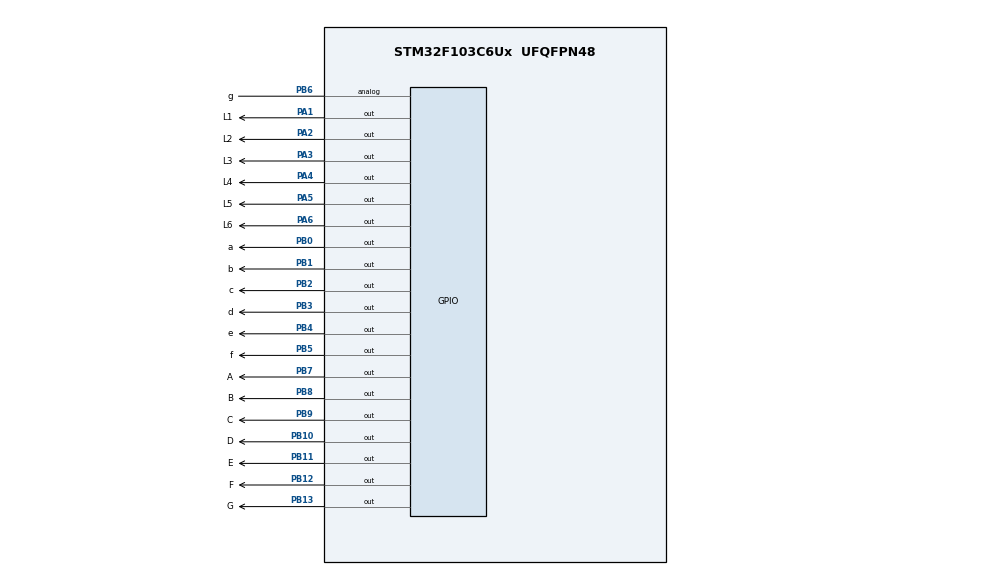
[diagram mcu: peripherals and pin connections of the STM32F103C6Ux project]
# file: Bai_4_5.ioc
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Mcu.Family=STM32F1
Mcu.Name=STM32F103C6Ux
Mcu.Package=UFQFPN48
NVIC.PriorityGroup=NVIC_PRIORITYGROUP_4
PA1.GPIO_Label=L1
PA1.Signal=GPIO_Output
PA2.GPIO_Label=L2
PA2.Signal=GPIO_Output
PA3.GPIO_Label=L3
PA3.Signal=GPIO_Output
PA4.GPIO_Label=L4
PA4.Signal=GPIO_Output
PA5.GPIO_Label=L5
PA5.Signal=GPIO_Output
PA6.GPIO_Label=L6
PA6.Signal=GPIO_Output
PB0.GPIO_Label=a
PB0.Signal=GPIO_Output
PB1.GPIO_Label=b
PB1.Signal=GPIO_Output
PB10.GPIO_Label=D
PB10.Signal=GPIO_Output
PB11.GPIO_Label=E
PB11.Signal=GPIO_Output
PB12.GPIO_Label=F
PB12.Signal=GPIO_Output
PB13.GPIO_Label=G
PB13.Signal=GPIO_Output
PB2.GPIO_Label=c
PB2.Signal=GPIO_Output
PB3.GPIO_Label=d
PB3.Signal=GPIO_Output
PB4.GPIO_Label=e
PB4.Signal=GPIO_Output
PB5.GPIO_Label=f
PB5.Signal=GPIO_Output
PB6.GPIO_Label=g
PB6.Signal=GPIO_Analog
PB7.GPIO_Label=A
PB7.Signal=GPIO_Output
PB8.GPIO_Label=B
PB8.Signal=GPIO_Output
PB9.GPIO_Label=C
PB9.Signal=GPIO_Output
ProjectManager.HeapSize=0x200
ProjectManager.StackSize=0x400
ProjectManager.TargetToolchain=STM32CubeIDE
RCC.APB1Freq_Value=8000000
RCC.APB2Freq_Value=8000000
VP_SYS_VS_ND.Mode=No_Debug
board=custom

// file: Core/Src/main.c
#include "main.h"

/* Timing constants (seconds) */
#define NS_RED_TIME  9  /* NS red counts from 8 to 0 */
#define EW_GREEN_TIME 5 /* EW green counts from 5 to 0 */
#define EW_YELLOW_TIME 3 /* EW yellow counts from 2 to 0 */

void SystemClock_Config(void);
static void MX_GPIO_Init(void);

/* Helper prototypes */
void display7SEG_NS(int num);
void display7SEG_EW(int num);
void clear7SEG_NS(void);
void clear7SEG_EW(void);
void setLED(GPIO_TypeDef* port, uint16_t pin, uint8_t on);
void setNS(uint8_t g, uint8_t y, uint8_t r);
void setEW(uint8_t g, uint8_t y, uint8_t r);

int main(void)
{
  HAL_Init();
  SystemClock_Config();
  MX_GPIO_Init();

  /* Init: turn off traffic LEDs and clear both 7-seg */
  setNS(0,0,0);
  setEW(0,0,0);
  clear7SEG_NS();
  clear7SEG_EW();

  /* Main loop: two-phase traffic controller */
  while (1)
  {
    /* Phase A: North-South RED, East-West GREEN then YELLOW */
    setNS(0,0,1);   /* NS red on */
    setEW(1,0,0);   /* EW green on */
    for (int s = 0; s < EW_GREEN_TIME; s++) {
      display7SEG_NS(NS_RED_TIME - s - 1); /* NS red counts 8->4 */
      display7SEG_EW(EW_GREEN_TIME - s - 1); /* EW green counts 5->1 */
      HAL_Delay(1000);
    }
    setEW(0,1,0);   /* EW yellow on */
    for (int s = 0; s < EW_YELLOW_TIME + 1; s++) {
      display7SEG_NS(NS_RED_TIME - EW_GREEN_TIME - s - 1); /* NS red counts 3->0 */
      display7SEG_EW(EW_YELLOW_TIME - s); /* EW yellow counts 2->0 */
      HAL_Delay(1000);
    }

    /* Phase B: East-West RED, North-South GREEN then YELLOW */
    setNS(1,0,0);   /* NS green on */
    setEW(0,0,1);   /* EW red on */
    for (int s = 0; s < EW_GREEN_TIME; s++) {
      display7SEG_EW(NS_RED_TIME - s - 1); /* EW red counts 8->4 */
      display7SEG_NS(EW_GREEN_TIME - s - 1); /* NS green counts 5->1 */
      HAL_Delay(1000);
    }
    setNS(0,1,0);   /* NS yellow on */
    for (int s = 0; s < EW_YELLOW_TIME + 1; s++) {
      display7SEG_EW(NS_RED_TIME - EW_GREEN_TIME - s - 1); /* EW red counts 3->0 */
      display7SEG_NS(EW_YELLOW_TIME - s); /* NS yellow counts 2->0 */
      HAL_Delay(1000);
    }
  }
}

/* System Clock Configuration (standard HSI) */
void SystemClock_Config(void)
{
  RCC_OscInitTypeDef RCC_OscInitStruct = {0};
  RCC_ClkInitTypeDef RCC_ClkInitStruct = {0};

  RCC_OscInitStruct.OscillatorType = RCC_OSCILLATORTYPE_HSI;
  RCC_OscInitStruct.HSIState       = RCC_HSI_ON;
  RCC_OscInitStruct.HSICalibrationValue = RCC_HSICALIBRATION_DEFAULT;
  RCC_OscInitStruct.PLL.PLLState   = RCC_PLL_NONE;
  if (HAL_RCC_OscConfig(&RCC_OscInitStruct) != HAL_OK)
  {
    Error_Handler();
  }
  RCC_ClkInitStruct.ClockType      = RCC_CLOCKTYPE_HCLK|RCC_CLOCKTYPE_SYSCLK
                                   |RCC_CLOCKTYPE_PCLK1|RCC_CLOCKTYPE_PCLK2;
  RCC_ClkInitStruct.SYSCLKSource   = RCC_SYSCLKSOURCE_HSI;
  RCC_ClkInitStruct.AHBCLKDivider  = RCC_SYSCLK_DIV1;
  RCC_ClkInitStruct.APB1CLKDivider = RCC_HCLK_DIV1;
  RCC_ClkInitStruct.APB2CLKDivider = RCC_HCLK_DIV1;

  if (HAL_RCC_ClockConfig(&RCC_ClkInitStruct, FLASH_LATENCY_0) != HAL_OK)
  {
    Error_Handler();
  }
}

/* GPIO init: configure PA (L1..L6) and PB (a..g, A..G) as outputs */
static void MX_GPIO_Init(void)
{
  GPIO_InitTypeDef GPIO_InitStruct = {0};

  __HAL_RCC_GPIOA_CLK_ENABLE();
  __HAL_RCC_GPIOB_CLK_ENABLE();

  /* Traffic LEDs (PA) - set pins OFF initially (SET = off for active-LOW) */
  HAL_GPIO_WritePin(L1_GPIO_Port, L1_Pin, GPIO_PIN_SET);
  HAL_GPIO_WritePin(L2_GPIO_Port, L2_Pin, GPIO_PIN_SET);
  HAL_GPIO_WritePin(L3_GPIO_Port, L3_Pin, GPIO_PIN_SET);
  HAL_GPIO_WritePin(L4_GPIO_Port, L4_Pin, GPIO_PIN_SET);
  HAL_GPIO_WritePin(L5_GPIO_Port, L5_Pin, GPIO_PIN_SET);
  HAL_GPIO_WritePin(L6_GPIO_Port, L6_Pin, GPIO_PIN_SET);

  GPIO_InitStruct.Pin = L1_Pin|L2_Pin|L3_Pin|L4_Pin|L5_Pin|L6_Pin;
  GPIO_InitStruct.Mode = GPIO_MODE_OUTPUT_PP;
  GPIO_InitStruct.Pull = GPIO_NOPULL;
  GPIO_InitStruct.Speed = GPIO_SPEED_FREQ_LOW;
  HAL_GPIO_Init(L1_GPIO_Port, &GPIO_InitStruct); /* all Lx on same port (GPIOA) */

  /* 7-seg NS (a..g) and EW (A..G) on PB - set OFF initially (SET = off for common-anode) */
  HAL_GPIO_WritePin(a_GPIO_Port, a_Pin, GPIO_PIN_SET);
  HAL_GPIO_WritePin(b_GPIO_Port, b_Pin, GPIO_PIN_SET);
  HAL_GPIO_WritePin(c_GPIO_Port, c_Pin, GPIO_PIN_SET);
  HAL_GPIO_WritePin(d_GPIO_Port, d_Pin, GPIO_PIN_SET);
  HAL_GPIO_WritePin(e_GPIO_Port, e_Pin, GPIO_PIN_SET);
  HAL_GPIO_WritePin(f_GPIO_Port, f_Pin, GPIO_PIN_SET);
  HAL_GPIO_WritePin(g_GPIO_Port, g_Pin, GPIO_PIN_SET);

  HAL_GPIO_WritePin(A_GPIO_Port, A_Pin, GPIO_PIN_SET);
  HAL_GPIO_WritePin(B_GPIO_Port, B_Pin, GPIO_PIN_SET);
  HAL_GPIO_WritePin(C_GPIO_Port, C_Pin, GPIO_PIN_SET);
  HAL_GPIO_WritePin(D_GPIO_Port, D_Pin, GPIO_PIN_SET);
  HAL_GPIO_WritePin(E_GPIO_Port, E_Pin, GPIO_PIN_SET);
  HAL_GPIO_WritePin(F_GPIO_Port, F_Pin, GPIO_PIN_SET);
  HAL_GPIO_WritePin(G_GPIO_Port, G_Pin, GPIO_PIN_SET);

  GPIO_InitStruct.Pin = a_Pin|b_Pin|c_Pin|d_Pin|e_Pin|f_Pin|g_Pin
                      | A_Pin|B_Pin|C_Pin|D_Pin|E_Pin|F_Pin|G_Pin;
  GPIO_InitStruct.Mode = GPIO_MODE_OUTPUT_PP;
  GPIO_InitStruct.Pull = GPIO_NOPULL;
  GPIO_InitStruct.Speed = GPIO_SPEED_FREQ_LOW;
  HAL_GPIO_Init(a_GPIO_Port, &GPIO_InitStruct); /* all segment pins on GPIOB */
}

/* USER CODE BEGIN 4 */

/* Clear (turn off) NS 7-seg (a..g) */
void clear7SEG_NS(void) {
  HAL_GPIO_WritePin(a_GPIO_Port, a_Pin|b_Pin|c_Pin|d_Pin|e_Pin|f_Pin|g_Pin, GPIO_PIN_SET);
}

/* Clear (turn off) EW 7-seg (A..G) */
void clear7SEG_EW(void) {
  HAL_GPIO_WritePin(A_GPIO_Port, A_Pin|B_Pin|C_Pin|D_Pin|E_Pin|F_Pin|G_Pin, GPIO_PIN_SET);
}

/* Display digit 0..9 on NS 7-seg (a..g). If out of range, remains cleared. */
void display7SEG_NS(int num) {
  clear7SEG_NS();
  const uint16_t digits[10] = {
    a_Pin|b_Pin|c_Pin|d_Pin|e_Pin|f_Pin,    /* 0 */
    b_Pin|c_Pin,                            /* 1 */
    a_Pin|b_Pin|d_Pin|e_Pin|g_Pin,          /* 2 */
    a_Pin|b_Pin|c_Pin|d_Pin|g_Pin,          /* 3 */
    b_Pin|c_Pin|f_Pin|g_Pin,                /* 4 */
    a_Pin|c_Pin|d_Pin|f_Pin|g_Pin,          /* 5 */
    a_Pin|c_Pin|d_Pin|e_Pin|f_Pin|g_Pin,    /* 6 */
    a_Pin|b_Pin|c_Pin,                      /* 7 */
    a_Pin|b_Pin|c_Pin|d_Pin|e_Pin|f_Pin|g_Pin,/* 8 */
    a_Pin|b_Pin|c_Pin|d_Pin|f_Pin|g_Pin     /* 9 */
  };
  if (num >= 0 && num <= 9) {
    HAL_GPIO_WritePin(a_GPIO_Port, digits[num], GPIO_PIN_RESET); /* LOW = on */
  }
}

/* Display digit 0..9 on EW 7-seg (A..G). If out of range, remains cleared. */
void display7SEG_EW(int num) {
  clear7SEG_EW();
  const uint16_t digits[10] = {
    A_Pin|B_Pin|C_Pin|D_Pin|E_Pin|F_Pin,    /* 0 */
    B_Pin|C_Pin,                            /* 1 */
    A_Pin|B_Pin|D_Pin|E_Pin|G_Pin,          /* 2 */
    A_Pin|B_Pin|C_Pin|D_Pin|G_Pin,          /* 3 */
    B_Pin|C_Pin|F_Pin|G_Pin,                /* 4 */
    A_Pin|C_Pin|D_Pin|F_Pin|G_Pin,          /* 5 */
    A_Pin|C_Pin|D_Pin|E_Pin|F_Pin|G_Pin,    /* 6 */
    A_Pin|B_Pin|C_Pin,                      /* 7 */
    A_Pin|B_Pin|C_Pin|D_Pin|E_Pin|F_Pin|G_Pin,/* 8 */
    A_Pin|B_Pin|C_Pin|D_Pin|F_Pin|G_Pin     /* 9 */
  };
  if (num >= 0 && num <= 9) {
    HAL_GPIO_WritePin(A_GPIO_Port, digits[num], GPIO_PIN_RESET); /* LOW = on */
  }
}

/* setLED helper (active-LOW): on=1 -> LOW (turn on), on=0 -> HIGH (turn off) */
void setLED(GPIO_TypeDef* port, uint16_t pin, uint8_t on) {
  HAL_GPIO_WritePin(port, pin, on ? GPIO_PIN_RESET : GPIO_PIN_SET);
}

/* Set North-South lights (g,y,r) each 0/1 */
void setNS(uint8_t g, uint8_t y, uint8_t r) {
  setLED(L1_GPIO_Port, L1_Pin, g); /* Green */
  setLED(L2_GPIO_Port, L2_Pin, y); /* Yellow */
  setLED(L3_GPIO_Port, L3_Pin, r); /* Red */
}

/* Set East-West lights (g,y,r) each 0/1 */
void setEW(uint8_t g, uint8_t y, uint8_t r) {
  setLED(L4_GPIO_Port, L4_Pin, g); /* Green */
  setLED(L5_GPIO_Port, L5_Pin, y); /* Yellow */
  setLED(L6_GPIO_Port, L6_Pin, r); /* Red */
}

/* USER CODE END 4 */

void Error_Handler(void)
{
  __disable_irq();
  while (1) { }
}

/************************ (C) COPYRIGHT STMicroelectronics *****END OF FILE****/
